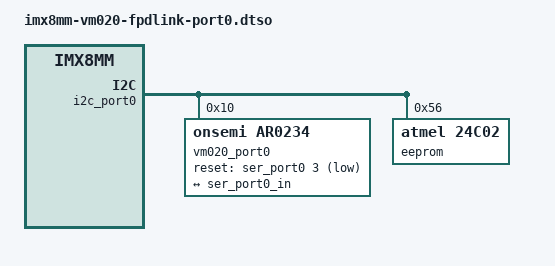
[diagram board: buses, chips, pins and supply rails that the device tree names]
// SPDX-License-Identifier: (GPL-2.0+ OR MIT)
/*
 * Copyright (C) 2023 PHYTEC Messtechnik GmbH
 * Author: Stefan Riedmüller <s.riedmueller@phytec.de>
 */

/dts-v1/;
/plugin/;

#include "imx8mm-fpdlink-port0.dtsi"
#include <dt-bindings/gpio/gpio.h>

/ {
	compatible = "phytec,imx8mm-phyboard-polis";
};

&i2c_port0 {
	vm020_port0: camera@10 {
		#address-cells = <0x1>;
		#size-cells = <0x0>;

		compatible = "onsemi,ar0234";
		reg = <0x10>;
		clocks = <&ser_port0>;
		clock-names = "ext";

		reset-gpios = <&ser_port0 3 GPIO_ACTIVE_LOW>;

		port@0 {
			reg = <0>;

			vm020_port0_ep: endpoint {
				remote-endpoint = <&ser_port0_in>;
				bus-type = <4>; /* MIPI CSI-2 D-PHY */
				link-frequencies = /bits/ 64 <288000000>;
				data-lanes = <1 2 3 4>;
				clock-lanes = <0>;
				clock-noncontinuous = <1>;
			};
		};
	};

	eeprom@56 {
		compatible = "atmel,24c02";
		reg = <0x56>;
		pagesize = <16>;
	};
};

&ser_port0 {
	clock-frequency = <26666666>;
};

&ser_port0_in {
	remote-endpoint = <&vm020_port0_ep>;
	data-lanes = <1 2 3 4>;
};
